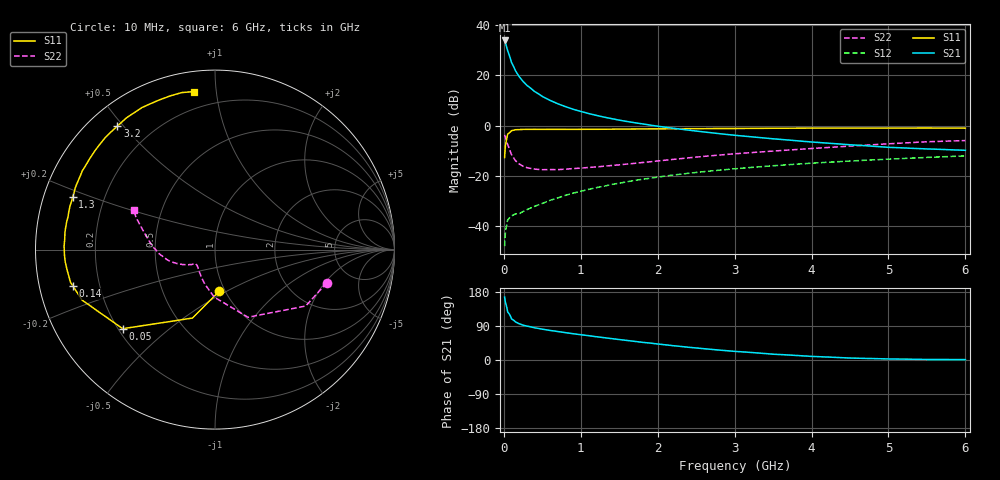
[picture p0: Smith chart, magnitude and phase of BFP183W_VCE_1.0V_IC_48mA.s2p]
! Infineon Technologies  Discrete & RF Semiconductors
! BFP183W
! VCE =  1.0 V,  IC =  48 mA
! Common Emitter S-Parameters:  Jan 2017
# GHz  S  MA  R  50
!  f  S11  S21  S12  S22
! GHz  MAG  ANG  MAG  ANG  MAG  ANG  MAG  ANG
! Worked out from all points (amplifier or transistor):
!   77 points, 10 MHz to 6 GHz, reference 50 ohm
!   highest |S21| = 33.8 dB at 10 MHz (marker M1)
!   |S21| within 3 dB of that: start of sweep to 39.32 MHz
!   unconditionally stable (mu >= 1): start of sweep to 14.62 MHz; 239 MHz to end of sweep
!   at 130 MHz: K = 0.66, MSG = 29.3 dB, |S12| = -35.4 dB
!   at 2.2 GHz: K = 1.45, MAG = 5.3 dB, |S12| = -19.7 dB
!   at 6 GHz: K = 1.36, MAG = -2.5 dB, |S12| = -12.1 dB
!   S11 on the Smith chart (normalised r, x): 10 MHz: 0.94, -0.46; 50 MHz: 0.22, -0.35; 140 MHz: 0.10, -0.12; 1.3 GHz: 0.09, +0.18; 3.2 GHz: 0.08, +0.48; 6 GHz: 0.10, +0.87
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0.01  0.2322 -83.9  49.16 166.0  0.004 74.0  0.6498 -16.6
0.02  0.4014 -108.2  44.95 152.4  0.0073 61.5  0.5951 -31.9
0.05  0.6771 -139.4  30.58 126.5  0.0133 43.3  0.4194 -64.0
0.1  0.7924 -159.2  17.89 108.5  0.016 36.9  0.2645 -91.0
0.14  0.8176 -165.7  13.44 102.8  0.0172 37.0  0.2126 -102.4
0.15  0.8254 -167.2  12.36 100.7  0.0175 37.0  0.2013 -106.1
0.2  0.8313 -171.9  9.375 95.6  0.0176 38.7  0.1721 -115.9
0.25  0.8371 -175.2  7.537 92.0  0.0196 41.0  0.1552 -123.1
0.3  0.8391 -177.5  6.291 89.4  0.0213 44.1  0.1458 -128.5
0.4  0.841 178.8  4.748 84.9  0.0248 50.0  0.136 -135.2
0.5  0.8393 175.9  3.794 81.3  0.0283 54.0  0.1326 -139.1
0.6  0.8416 173.5  3.171 78.1  0.0326 56.2  0.1332 -141.8
0.7  0.8409 171.5  2.718 75.2  0.0363 59.6  0.1329 -143.4
0.9  0.8389 167.3  2.111 69.4  0.0452 61.7  0.1396 -145.0
1.1  0.8435 163.4  1.737 64.2  0.0537 63.3  0.1467 -146.3
1.3  0.8446 159.8  1.473 59.0  0.0621 63.4  0.1554 -147.5
2.1  0.8605 145.6  0.926 40.1  0.099 61.5  0.205 -156.5
3.1  0.8757 129.8  0.621 21.5  0.1422 54.0  0.2815 -170.1
3.2  0.877 128.3  0.601 20.1  0.1463 53.2  0.2886 -171.6
4.1  0.8891 115.9  0.46 8.7  0.1821 45.7  0.3573 175.1
5.1  0.8919 105.5  0.364 2.5  0.2182 37.5  0.4421 161.5
6  0.8883 97.5  0.322 1.1  0.2494 30.1  0.5029 154.0
